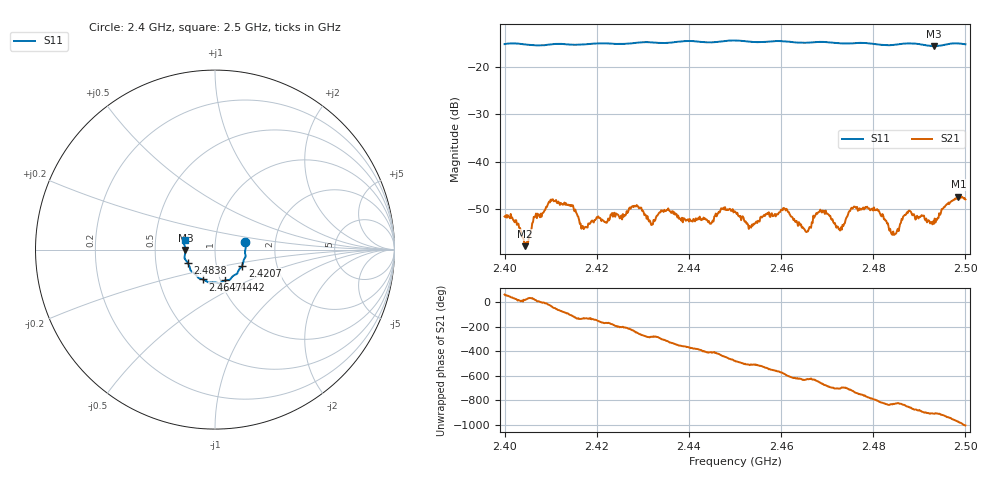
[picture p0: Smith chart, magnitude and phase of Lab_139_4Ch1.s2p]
# Hz S RI R 50
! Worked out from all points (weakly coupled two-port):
!   601 points, 2.4 GHz to 2.5 GHz, reference 50 ohm
!   highest |S21| = -47.39 dB at 2.4985 GHz (marker M1); lowest = -57.9 dB at 2.4043 GHz (marker M2)
!   lowest |S11| = -15.6 dB at 2.4932 GHz (marker M3), VSWR 1.40, Z = 35.8 - j0.163 ohm
!   |S11| at or under -10 dB: start of sweep to end of sweep
!   S12 and S22 are empty: the file has one direction only
!   S11 on the Smith chart (normalised r, x): 2.4 GHz: 1.40, +0.11; 2.4207 GHz: 1.33, -0.24; 2.4442 GHz: 1.06, -0.37; 2.4647 GHz: 0.83, -0.29; 2.4838 GHz: 0.73, -0.11; 2.5 GHz: 0.71, +0.07
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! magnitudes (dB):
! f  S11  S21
! 2.4 GHz  -15.2  -51.6
! 2.4043 GHz  -15.3  -57.9
! 2.4102 GHz  -15.2  -48.3
! 2.4145 GHz  -15.3  -49.2
! 2.4167 GHz  -15.3  -54.2
! 2.4207 GHz  -15.1  -51.9
! 2.4333 GHz  -15.0  -51.1
! 2.4442 GHz  -14.8  -52.8
! 2.45 GHz  -14.4  -50.5
! 2.4533 GHz  -14.7  -53.8
! 2.4608 GHz  -14.6  -50.0
! 2.4647 GHz  -14.9  -53.8
! 2.4667 GHz  -14.9  -52.8
! 2.4688 GHz  -14.8  -50.8
! 2.473 GHz  -15.1  -53.9
! 2.4787 GHz  -15.0  -49.5
! 2.4833 GHz  -15.4  -53.8
! 2.4838 GHz  -15.4  -54.9
! 2.4877 GHz  -15.1  -50.4
! 2.4932 GHz  -15.6  -53.1
! 2.4985 GHz  -15.1  -47.4
! 2.5 GHz  -15.2  -48.0
